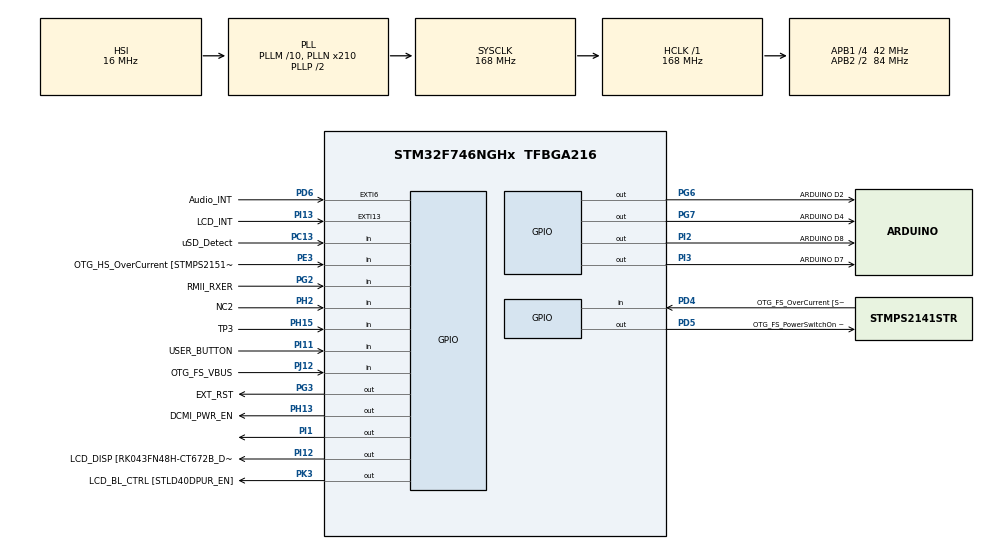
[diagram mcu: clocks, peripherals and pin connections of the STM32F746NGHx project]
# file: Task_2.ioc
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CORTEX_M7.default_mode_Activation=1
Mcu.Family=STM32F7
Mcu.Name=STM32F746NGHx
Mcu.Package=TFBGA216
NVIC.PriorityGroup=NVIC_PRIORITYGROUP_4
NVIC.TIM6_DAC_IRQn=true\:0\:0\:false\:false\:true\:true\:true\:true
PA0/WKUP.GPIO_Label=ARDUINO A0
PA0/WKUP.GPIO_Mode=GPIO_MODE_ANALOG
PA0/WKUP.GPIO_PuPd=GPIO_NOPULL
PA0/WKUP.Signal=ADCx_IN0
PA1.GPIO_Label=RMII_REF_CLK [LAN8742A-CZ-TR_REFCLK0]
PA1.Signal=ETH_REF_CLK
PA10.GPIO_Label=OTG_FS_ID
PA10.Signal=USB_OTG_FS_ID
PA11.GPIO_Label=OTG_FS_N
PA11.Signal=USB_OTG_FS_DM
PA12.GPIO_Label=OTG_FS_P
PA12.Signal=USB_OTG_FS_DP
PA13.GPIO_Label=SWDIO
PA13.Signal=SYS_JTMS-SWDIO
PA14.GPIO_Label=SWCLK
PA14.Signal=SYS_JTCK-SWCLK
PA15.GPIO_Label=ARDUINO PWM/D9
PA15.GPIO_ModeDefaultPP=GPIO_MODE_AF_PP
PA15.GPIO_PuPd=GPIO_NOPULL
PA15.GPIO_Speed=GPIO_SPEED_FREQ_LOW
PA15.Signal=S_TIM2_CH1_ETR
PA2.GPIO_Label=RMII_MDIO [LAN8742A-CZ-TR_MDIO]
PA2.Signal=ETH_MDIO
PA3.GPIO_Label=ULPI_D0 [USB3320C-EZK_D0]
PA3.Signal=USB_OTG_HS_ULPI_D0
PA4.GPIO_Label=DCMI_HSYNC
PA4.Signal=DCMI_HSYNC
PA5.GPIO_Label=ULPI_CLK [USB3320C-EZK_CLKOUT]
PA5.Signal=USB_OTG_HS_ULPI_CK
PA6.Signal=DCMI_PIXCLK
PA7.GPIO_Label=RMII_CRS_DV [LAN8742A-CZ-TR_CRS_DV]
PA7.Signal=ETH_CRS_DV
PA8.GPIO_Label=ARDUINO PWM/D10
PA8.GPIO_ModeDefaultPP=GPIO_MODE_AF_PP
PA8.GPIO_PuPd=GPIO_NOPULL
PA8.GPIO_Speed=GPIO_SPEED_FREQ_LOW
PA8.Signal=S_TIM1_CH1
PA9.GPIO_Label=VCP_TX [STM32F103CBT6_PA3]
PA9.GPIO_Mode=GPIO_MODE_AF_PP
PA9.GPIO_PuPd=GPIO_NOPULL
PA9.GPIO_Speed=GPIO_SPEED_FREQ_LOW
PA9.Signal=USART1_TX
PB0.GPIO_Label=ULPI_D1 [USB3320C-EZK_D1]
PB0.Signal=USB_OTG_HS_ULPI_D1
PB1.GPIO_Label=ULPI_D2 [USB3320C-EZK_D2]
PB1.Signal=USB_OTG_HS_ULPI_D2
PB10.GPIO_Label=ULPI_D3 [USB3320C-EZK_D3]
PB10.Signal=USB_OTG_HS_ULPI_D3
PB11.GPIO_Label=ULPI_D4 [USB3320C-EZK_D4]
PB11.Signal=USB_OTG_HS_ULPI_D4
PB12.GPIO_Label=ULPI_D5 [USB3320C-EZK_D5]
PB12.Signal=USB_OTG_HS_ULPI_D5
PB13.GPIO_Label=ULPI_D6 [USB3320C-EZK_D6]
PB13.Signal=USB_OTG_HS_ULPI_D6
PB14.GPIO_Label=ARDUINO MISO/D12
PB14.GPIO_Mode=GPIO_MODE_AF_PP
PB14.GPIO_PuPd=GPIO_NOPULL
PB14.GPIO_Speed=GPIO_SPEED_FREQ_LOW
PB14.Signal=SPI2_MISO
PB15.GPIO_Label=ARDUINO MOSI/PWM/D11
PB15.GPIO_Mode=GPIO_MODE_AF_PP
PB15.GPIO_PuPd=GPIO_NOPULL
PB15.GPIO_Speed=GPIO_SPEED_FREQ_LOW
PB15.Signal=SPI2_MOSI
PB2.Signal=QUADSPI_CLK
PB3.GPIO_Label=SWO
PB3.Signal=SYS_JTDO-SWO
PB4.GPIO_Label=ARDUINO PWM/D3
PB4.GPIO_ModeDefaultPP=GPIO_MODE_AF_PP
PB4.GPIO_PuPd=GPIO_NOPULL
PB4.GPIO_Speed=GPIO_SPEED_FREQ_LOW
PB4.Signal=S_TIM3_CH1
PB5.GPIO_Label=ULPI_D7 [USB3320C-EZK_D7]
PB5.Signal=USB_OTG_HS_ULPI_D7
PB6.GPIO_Label=QSPI_NCS [N25Q128A13EF840E_S]
PB6.Signal=QUADSPI_BK1_NCS
PB7.GPIO_Label=VCP_RX [STM32F103CBT6_PA2]
PB7.GPIO_Mode=GPIO_MODE_AF_PP
PB7.GPIO_PuPd=GPIO_NOPULL
PB7.GPIO_Speed=GPIO_SPEED_FREQ_LOW
PB7.Signal=USART1_RX
PB8.GPIO_Label=ARDUINO SCL/D15
PB8.GPIO_Mode=GPIO_MODE_AF_OD
PB8.GPIO_PuPd=GPIO_NOPULL
PB8.GPIO_Speed=GPIO_SPEED_FREQ_LOW
PB8.Signal=I2C1_SCL
PB9.GPIO_Label=ARDUINO SDA/D14
PB9.GPIO_Mode=GPIO_MODE_AF_OD
PB9.GPIO_PuPd=GPIO_NOPULL
PB9.GPIO_Speed=GPIO_SPEED_FREQ_LOW
PB9.Signal=I2C1_SDA
PC0.GPIO_Label=ULPI_STP [USB3320C-EZK_STP]
PC0.Signal=USB_OTG_HS_ULPI_STP
PC1.GPIO_Label=RMII_MDC [LAN8742A-CZ-TR_MDC]
PC1.Signal=ETH_MDC
PC10.GPIO_Label=SDMMC_D2
PC10.Signal=SDMMC1_D2
PC11.GPIO_Label=SDMMC_D3
PC11.Signal=SDMMC1_D3
PC12.GPIO_Label=SDMMC_CK
PC12.Signal=SDMMC1_CK
PC13.GPIO_Label=uSD_Detect
PC13.Signal=GPIO_Input
PC14/OSC32_IN.GPIO_Label=RCC_OSC32_IN
PC14/OSC32_IN.Signal=RCC_OSC32_IN
PC15/OSC32_OUT.GPIO_Label=RCC_OSC32_OUT
PC15/OSC32_OUT.Signal=RCC_OSC32_OUT
PC2.GPIO_Label=ULPI_DIR [USB3320C-EZK_DIR]
PC2.Signal=USB_OTG_HS_ULPI_DIR
PC3.GPIO_Label=FMC_SDCKE0 [MT48LC4M32B2B5-6A_CKE]
PC3.Signal=FMC_SDCKE0
PC4.GPIO_Label=RMII_RXD0 [LAN8742A-CZ-TR_RXD0]
PC4.Signal=ETH_RXD0
PC5.GPIO_Label=RMII_RXD1 [LAN8742A-CZ-TR_RXD1]
PC5.Signal=ETH_RXD1
PC6.GPIO_Label=ARDUINO TX/D1
PC6.Signal=USART6_TX
PC7.GPIO_Label=ARDUINO RX/D0
PC7.Signal=USART6_RX
PC8.Signal=SDMMC1_D0
PC9.Signal=SDMMC1_D1
PD0.GPIO_Label=FMC_D2 [MT48LC4M32B2B5-6A_DQ2]
PD0.Signal=FMC_D2_DA2
PD1.GPIO_Label=FMC_D3 [MT48LC4M32B2B5-6A_DQ3]
PD1.Signal=FMC_D3_DA3
PD10.GPIO_Label=FMC_D15 [MT48LC4M32B2B5-6A_DQ15]
PD10.Signal=FMC_D15_DA15
PD11.GPIO_Label=QSPI_D0 [N25Q128A13EF840E_DQ0]
PD11.Signal=QUADSPI_BK1_IO0
PD12.GPIO_Label=QSPI_D1 [N25Q128A13EF840E_DQ1]
PD12.Signal=QUADSPI_BK1_IO1
PD13.GPIO_Label=QSPI_D3 [N25Q128A13EF840E_DQ3]
PD13.Signal=QUADSPI_BK1_IO3
PD14.GPIO_Label=FMC_D0 [MT48LC4M32B2B5-6A_DQ0]
PD14.Signal=FMC_D0_DA0
PD15.GPIO_Label=FMC_D1 [MT48LC4M32B2B5-6A_DQ1]
PD15.Signal=FMC_D1_DA1
PD2.GPIO_Label=SDMMC_D0
PD2.Signal=SDMMC1_CMD
PD3.GPIO_Label=DCMI_D5
PD3.Signal=DCMI_D5
PD4.GPIO_Label=OTG_FS_OverCurrent [STMPS2141STR_Fault]
PD4.Signal=GPIO_Input
PD5.GPIO_Label=OTG_FS_PowerSwitchOn [STMPS2141STR_EN]
PD5.PinState=GPIO_PIN_SET
PD5.Signal=GPIO_Output
PD6.GPIO_Label=Audio_INT
PD6.GPIO_ModeDefaultEXTI=GPIO_MODE_EVT_RISING
PD6.Signal=GPXTI6
PD7.GPIO_Label=SPDIF_RX0 [74LVC1G04SE_4]
PD7.Signal=SPDIFRX_IN0
PD8.GPIO_Label=FMC_D13 [MT48LC4M32B2B5-6A_DQ13]
PD8.Signal=FMC_D13_DA13
PD9.GPIO_Label=FMC_D14 [MT48LC4M32B2B5-6A_DQ14]
PD9.Signal=FMC_D14_DA14
PE0.GPIO_Label=FMC_NBL0 [MT48LC4M32B2B5-6A_DQM0]
PE0.Signal=FMC_NBL0
PE1.GPIO_Label=FMC_NBL1 [MT48LC4M32B2B5-6A_DQM1]
PE1.Signal=FMC_NBL1
PE10.GPIO_Label=FMC_D7 [MT48LC4M32B2B5-6A_DQ7]
PE10.Signal=FMC_D7_DA7
PE11.GPIO_Label=FMC_D8 [MT48LC4M32B2B5-6A_DQ8]
PE11.Signal=FMC_D8_DA8
PE12.GPIO_Label=FMC_D9 [MT48LC4M32B2B5-6A_DQ9]
PE12.Signal=FMC_D9_DA9
PE13.GPIO_Label=FMC_D10 [MT48LC4M32B2B5-6A_DQ10]
PE13.Signal=FMC_D10_DA10
PE14.GPIO_Label=FMC_D11 [MT48LC4M32B2B5-6A_DQ11]
PE14.Signal=FMC_D11_DA11
PE15.GPIO_Label=FMC_D12 [MT48LC4M32B2B5-6A_DQ12]
PE15.Signal=FMC_D12_DA12
PE2.GPIO_Label=QSPI_D2 [N25Q128A13EF840E_DQ2]
PE2.Signal=QUADSPI_BK1_IO2
PE3.GPIO_Label=OTG_HS_OverCurrent [STMPS2151STR_FAULT]
PE3.Signal=GPIO_Input
PE4.GPIO_Label=LCD_B0 [RK043FN48H-CT672B_B0]
PE4.Signal=LTDC_B0
PE5.GPIO_Label=DCMI_D6
PE5.Signal=DCMI_D6
PE6.GPIO_Label=DCMI_D7
PE6.Signal=DCMI_D7
PE7.GPIO_Label=FMC_D4 [MT48LC4M32B2B5-6A_DQ4]
PE7.Signal=FMC_D4_DA4
PE8.GPIO_Label=FMC_D5 [MT48LC4M32B2B5-6A_DQ5]
PE8.Signal=FMC_D5_DA5
PE9.GPIO_Label=FMC_D6 [MT48LC4M32B2B5-6A_DQ6]
PE9.Signal=FMC_D6_DA6
PF0.GPIO_Label=FMC_A0 [MT48LC4M32B2B5-6A_A0]
PF0.Signal=FMC_A0
PF1.GPIO_Label=FMC_A1 [MT48LC4M32B2B5-6A_A1]
PF1.Signal=FMC_A1
PF10.GPIO_Label=ARDUINO A1
PF10.GPIO_Mode=GPIO_MODE_ANALOG
PF10.GPIO_PuPd=GPIO_NOPULL
PF10.Signal=ADC3_IN8
PF11.GPIO_Label=FMC_SDNRAS [MT48LC4M32B2B5-6A_RAS]
PF11.Signal=FMC_SDNRAS
PF12.GPIO_Label=FMC_A6 [MT48LC4M32B2B5-6A_A6]
PF12.Signal=FMC_A6
PF13.GPIO_Label=FMC_A7 [MT48LC4M32B2B5-6A_A7]
PF13.Signal=FMC_A7
PF14.GPIO_Label=FMC_A8 [MT48LC4M32B2B5-6A_A8]
PF14.Signal=FMC_A8
PF15.GPIO_Label=FMC_A9 [MT48LC4M32B2B5-6A_A9]
PF15.Signal=FMC_A9
PF2.GPIO_Label=FMC_A2 [MT48LC4M32B2B5-6A_A2]
PF2.Signal=FMC_A2
PF3.GPIO_Label=FMC_A3 [MT48LC4M32B2B5-6A_A3]
PF3.Signal=FMC_A3
PF4.GPIO_Label=FMC_A4 [MT48LC4M32B2B5-6A_A4]
PF4.Signal=FMC_A4
PF5.GPIO_Label=FMC_A5 [MT48LC4M32B2B5-6A_A5]
PF5.Signal=FMC_A5
PF6.GPIO_Label=ARDUINO A5
PF6.GPIO_Mode=GPIO_MODE_ANALOG
PF6.GPIO_PuPd=GPIO_NOPULL
PF6.Signal=ADC3_IN4
PF7.GPIO_Label=ARDUINO A4
PF7.GPIO_Mode=GPIO_MODE_ANALOG
PF7.GPIO_PuPd=GPIO_NOPULL
PF7.Signal=ADC3_IN5
PF8.GPIO_Label=ARDUINO A3
PF8.GPIO_Mode=GPIO_MODE_ANALOG
PF8.GPIO_PuPd=GPIO_NOPULL
PF8.Signal=ADC3_IN6
PF9.GPIO_Label=ARDUINO A2
PF9.GPIO_Mode=GPIO_MODE_ANALOG
PF9.GPIO_PuPd=GPIO_NOPULL
PF9.Signal=ADC3_IN7
PG0.GPIO_Label=FMC_A10 [MT48LC4M32B2B5-6A_A10]
PG0.Signal=FMC_A10
PG1.GPIO_Label=FMC_A11 [MT48LC4M32B2B5-6A_A11]
PG1.Signal=FMC_A11
PG10.GPIO_Label=SAI2_SDB [WM8994ECS/R_ADCDAT1]
PG10.Signal=SAI2_SD_B
PG11.GPIO_Label=RMII_TX_EN [LAN8742A-CZ-TR_TXEN]
PG11.Signal=ETH_TX_EN
PG12.GPIO_Label=LCD_B4 [RK043FN48H-CT672B_B4]
PG12.Signal=LTDC_B4
PG13.GPIO_Label=RMII_TXD0 [LAN8742A-CZ-TR_TXD0]
PG13.Signal=ETH_TXD0
PG14.GPIO_Label=RMII_TXD1 [LAN8742A-CZ-TR_TXD1]
PG14.Signal=ETH_TXD1
PG15.GPIO_Label=FMC_SDNCAS [MT48LC4M32B2B5-6A_CAS]
PG15.Signal=FMC_SDNCAS
PG2.GPIO_Label=RMII_RXER
PG2.Signal=GPIO_Input
PG3.GPIO_Label=EXT_RST
PG3.Signal=GPIO_Output
PG4.GPIO_Label=FMC_BA0 [MT48LC4M32B2B5-6A_BA0]
PG4.Signal=FMC_A14_BA0
PG5.GPIO_Label=FMC_BA1 [MT48LC4M32B2B5-6A_BA1]
PG5.Signal=FMC_A15_BA1
PG6.GPIO_Label=ARDUINO D2
PG6.Signal=GPIO_Output
PG7.GPIO_Label=ARDUINO D4
PG7.Signal=GPIO_Output
PG8.GPIO_Label=FMC_SDCLK [MT48LC4M32B2B5-6A_CLK]
PG8.Signal=FMC_SDCLK
PG9.GPIO_Label=DCMI_VSYNC
PG9.Signal=DCMI_VSYNC
PH0/OSC_IN.GPIO_Label=OSC_25M [NZ2520SB-25.00M_OUT]
PH0/OSC_IN.Signal=RCC_OSC_IN
PH1/OSC_OUT.Signal=RCC_OSC_OUT
PH10.GPIO_Label=DCMI_D1
PH10.Signal=DCMI_D1
PH11.GPIO_Label=DCMI_D2
PH11.Signal=DCMI_D2
PH12.GPIO_Label=DCMI_D3
PH12.Signal=DCMI_D3
PH13.GPIO_Label=DCMI_PWR_EN
PH13.Signal=GPIO_Output
PH14.GPIO_Label=DCMI_D4
PH14.Signal=DCMI_D4
PH15.GPIO_Label=TP3
PH15.Signal=GPIO_Input
PH2.GPIO_Label=NC2
PH2.Signal=GPIO_Input
PH3.GPIO_Label=FMC_SDNE0 [MT48LC4M32B2B5-6A_CS]
PH3.Signal=FMC_SDNE0
PH4.GPIO_Label=ULPI_NXT [USB3320C-EZK_NXT]
PH4.Signal=USB_OTG_HS_ULPI_NXT
PH5.GPIO_Label=FMC_SDNME [MT48LC4M32B2B5-6A_WE]
PH5.Signal=FMC_SDNWE
PH6.GPIO_Label=ARDUINO PWM/D6
PH6.Signal=S_TIM12_CH1
PH7.GPIO_Label=LCD_SCL [RK043FN48H-CT672B_SCL]
PH7.Signal=I2C3_SCL
PH8.GPIO_Label=LCD_SDA [RK043FN48H-CT672B_SDA]
PH8.Signal=I2C3_SDA
PH9.GPIO_Label=DCMI_D0
PH9.Signal=DCMI_D0
PI0.GPIO_Label=ARDUINO PWM/CS/D5
PI0.GPIO_ModeDefaultPP=GPIO_MODE_AF_PP
PI0.GPIO_PuPd=GPIO_NOPULL
PI0.GPIO_Speed=GPIO_SPEED_FREQ_LOW
PI0.Signal=S_TIM5_CH4
PI1.Signal=GPIO_Output
PI10.GPIO_Label=LCD_HSYNC [RK043FN48H-CT672B_HSYNC]
PI10.Signal=LTDC_HSYNC
PI11.GPIO_Label=USER_BUTTON
PI11.GPIO_PuPd=GPIO_PULLDOWN
PI11.Signal=GPIO_Input
PI12.GPIO_Label=LCD_DISP [RK043FN48H-CT672B_DISP] 
PI12.Signal=GPIO_Output
PI13.GPIO_Label=LCD_INT
PI13.GPIO_ModeDefaultEXTI=GPIO_MODE_EVT_RISING
PI13.Signal=GPXTI13
PI14.GPIO_Label=LCD_CLK [RK043FN48H-CT672B_CLK]
PI14.Signal=LTDC_CLK
PI15.GPIO_Label=LCD_R0 [RK043FN48H-CT672B_R0]
PI15.Signal=LTDC_R0
PI2.GPIO_Label=ARDUINO D8
PI2.Signal=GPIO_Output
PI3.GPIO_Label=ARDUINO D7
PI3.Signal=GPIO_Output
PI4.GPIO_Label=SAI2_MCLKA [WM8994ECS/R_MCLK1]
PI4.Signal=SAI2_MCLK_A
PI5.GPIO_Label=SAI2_SCKA [WM8994ECS/R_BCLK1]
PI5.Signal=SAI2_SCK_A
PI6.GPIO_Label=SAI2_SDA [WM8994ECS/R_DACDAT1]
PI6.Signal=SAI2_SD_A
PI7.GPIO_Label=SAI2_FSA [WM8994ECS/R_LRCLK1]
PI7.Signal=SAI2_FS_A
PI8.GPIO_Label=NC1 [TP2]
PI8.Signal=RTC_TS
PI9.GPIO_Label=LCD_VSYNC [RK043FN48H-CT672B_VSYNC]
PI9.Signal=LTDC_VSYNC
PJ0.GPIO_Label=LCD_R1 [RK043FN48H-CT672B_R1]
PJ0.Signal=LTDC_R1
PJ1.GPIO_Label=LCD_R2 [RK043FN48H-CT672B_R2]
PJ1.Signal=LTDC_R2
PJ10.GPIO_Label=LCD_G3 [RK043FN48H-CT672B_G3]
PJ10.Signal=LTDC_G3
PJ11.GPIO_Label=LCD_G4 [RK043FN48H-CT672B_G4]
PJ11.Signal=LTDC_G4
PJ12.GPIO_Label=OTG_FS_VBUS
PJ12.Signal=GPIO_Input
PJ13.GPIO_Label=LCD_B1 [RK043FN48H-CT672B_B1]
PJ13.Signal=LTDC_B1
PJ14.GPIO_Label=LCD_B2 [RK043FN48H-CT672B_B2]
PJ14.Signal=LTDC_B2
PJ15.GPIO_Label=LCD_B3 [RK043FN48H-CT672B_B3]
PJ15.Signal=LTDC_B3
PJ2.GPIO_Label=LCD_R3 [RK043FN48H-CT672B_R3]
PJ2.Signal=LTDC_R3
PJ3.GPIO_Label=LCD_R4 [RK043FN48H-CT672B_R4]
PJ3.Signal=LTDC_R4
PJ4.GPIO_Label=LCD_R5 [RK043FN48H-CT672B_R5]
PJ4.Signal=LTDC_R5
PJ5.GPIO_Label=LCD_R6 [RK043FN48H-CT672B_R6]
PJ5.Signal=LTDC_R6
PJ6.GPIO_Label=LCD_R7 [RK043FN48H-CT672B_R7]
PJ6.Signal=LTDC_R7
PJ7.GPIO_Label=LCD_G0 [RK043FN48H-CT672B_G0]
PJ7.Signal=LTDC_G0
PJ8.GPIO_Label=LCD_G1 [RK043FN48H-CT672B_G1]
PJ8.Signal=LTDC_G1
PJ9.GPIO_Label=LCD_G2 [RK043FN48H-CT672B_G2]
PJ9.Signal=LTDC_G2
PK0.GPIO_Label=LCD_G5 [RK043FN48H-CT672B_G5]
PK0.Signal=LTDC_G5
PK1.GPIO_Label=LCD_G6 [RK043FN48H-CT672B_G6]
PK1.Signal=LTDC_G6
PK2.GPIO_Label=LCD_G7 [RK043FN48H-CT672B_G7]
PK2.Signal=LTDC_G7
PK3.GPIO_Label=LCD_BL_CTRL [STLD40DPUR_EN]
PK3.Signal=GPIO_Output
PK4.GPIO_Label=LCD_B5 [RK043FN48H-CT672B_B5]
PK4.Signal=LTDC_B5
PK5.GPIO_Label=LCD_B6 [RK043FN48H-CT672B_B6]
PK5.Signal=LTDC_B6
PK6.GPIO_Label=LCD_B7 [RK043FN48H-CT672B_B7]
PK6.Signal=LTDC_B7
PK7.GPIO_Label=LCD_DE [RK043FN48H-CT672B_DE]
PK7.Signal=LTDC_DE
ProjectManager.HeapSize=0x200
ProjectManager.StackSize=0x400
ProjectManager.TargetToolchain=STM32CubeIDE
RCC.AHBFreq_Value=168000000
RCC.APB1CLKDivider=RCC_HCLK_DIV4
RCC.APB1Freq_Value=42000000
RCC.APB1TimFreq_Value=84000000
RCC.APB2CLKDivider=RCC_HCLK_DIV2
RCC.APB2Freq_Value=84000000
RCC.APB2TimFreq_Value=168000000
RCC.CortexFreq_Value=168000000
RCC.HCLKFreq_Value=168000000
RCC.HSE_VALUE=25000000
RCC.HSI_VALUE=16000000
RCC.LSE_VALUE=32768
RCC.PLLM=10
RCC.PLLN=210
RCC.PLLSourceVirtual=RCC_PLLSOURCE_HSI
RCC.SYSCLKFreq_VALUE=168000000
RCC.SYSCLKSource=RCC_SYSCLKSOURCE_PLLCLK
RCC.USBFreq_Value=168000000
RCC.VCOOutputFreq_Value=336000000
SH.ADCx_IN0.0=ADC3_IN0
SH.FMC_A0.0=FMC_A0
SH.FMC_A1.0=FMC_A1
SH.FMC_A10.0=FMC_A10
SH.FMC_A11.0=FMC_A11
SH.FMC_A14_BA0.0=FMC_BA0
SH.FMC_A15_BA1.0=FMC_BA1
SH.FMC_A2.0=FMC_A2
SH.FMC_A3.0=FMC_A3
SH.FMC_A4.0=FMC_A4
SH.FMC_A5.0=FMC_A5
SH.FMC_A6.0=FMC_A6
SH.FMC_A7.0=FMC_A7
SH.FMC_A8.0=FMC_A8
SH.FMC_A9.0=FMC_A9
SH.FMC_D0_DA0.0=FMC_D0
SH.FMC_D10_DA10.0=FMC_D10
SH.FMC_D11_DA11.0=FMC_D11
SH.FMC_D12_DA12.0=FMC_D12
SH.FMC_D13_DA13.0=FMC_D13
SH.FMC_D14_DA14.0=FMC_D14
SH.FMC_D15_DA15.0=FMC_D15
SH.FMC_D1_DA1.0=FMC_D1
SH.FMC_D2_DA2.0=FMC_D2
SH.FMC_D3_DA3.0=FMC_D3
SH.FMC_D4_DA4.0=FMC_D4
SH.FMC_D5_DA5.0=FMC_D5
SH.FMC_D6_DA6.0=FMC_D6
SH.FMC_D7_DA7.0=FMC_D7
SH.FMC_D8_DA8.0=FMC_D8
SH.FMC_D9_DA9.0=FMC_D9
SH.FMC_NBL0.0=FMC_NBL0
SH.FMC_NBL1.0=FMC_NBL1
SH.FMC_SDCLK.0=FMC_SDCLK
SH.FMC_SDNCAS.0=FMC_SDNCAS
SH.FMC_SDNRAS.0=FMC_SDNRAS
SH.FMC_SDNWE.0=FMC_SDNWE
SH.S_TIM12_CH1.0=TIM12_CH1
SH.S_TIM1_CH1.0=TIM1_CH1
SH.S_TIM2_CH1_ETR.0=TIM2_CH1
SH.S_TIM3_CH1.0=TIM3_CH1
SH.S_TIM5_CH4.0=TIM5_CH4
TIM6.Period=999
TIM6.Prescaler=107
VP_TIM6_VS_ClockSourceINT.Mode=Enable_Timer
board=STM32F746G-DISCO

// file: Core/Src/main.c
/* USER CODE BEGIN Header */
/**
  ******************************************************************************
  * @file           : main.c
  * @brief          : Main program body
  ******************************************************************************
  * @attention
  *
  * Copyright (c) 2026 STMicroelectronics.
  * All rights reserved.
  *
  * This software is licensed under terms that can be found in the LICENSE file
  * in the root directory of this software component.
  * If no LICENSE file comes with this software, it is provided AS-IS.
  *
  ******************************************************************************
  */
/* USER CODE END Header */
#include "main.h"

TIM_HandleTypeDef htim6;

/* USER CODE BEGIN PV */
uint32_t freq = 1;
uint8_t is_custom_duty = 0;
uint32_t timer_tick = 0;

uint32_t btn_time = 0;
uint8_t btn_pressed = 0;
uint8_t long_handled = 0;
/* USER CODE END PV */

void SystemClock_Config(void);
static void MPU_Config(void);
static void MX_GPIO_Init(void);
static void MX_TIM6_Init(void);

int main(void)
{

  /* MPU Configuration--------------------------------------------------------*/
  MPU_Config();

  /* MCU Configuration--------------------------------------------------------*/

  /* Reset of all peripherals, Initializes the Flash interface and the Systick. */
  HAL_Init();

  /* Configure the system clock */
  SystemClock_Config();

  /* Initialize all configured peripherals */
  MX_GPIO_Init();
  MX_TIM6_Init();
  /* USER CODE BEGIN 2 */
  HAL_TIM_Base_Start_IT(&htim6);
  /* USER CODE END 2 */

  /* Infinite loop */
  while (1)
  {

  }
}

void SystemClock_Config(void)
{
  RCC_OscInitTypeDef RCC_OscInitStruct = {0};
  RCC_ClkInitTypeDef RCC_ClkInitStruct = {0};

  /** Configure the main internal regulator output voltage
  */
  __HAL_RCC_PWR_CLK_ENABLE();
  __HAL_PWR_VOLTAGESCALING_CONFIG(PWR_REGULATOR_VOLTAGE_SCALE2);

  /** Initializes the RCC Oscillators according to the specified parameters
  * in the RCC_OscInitTypeDef structure.
  */
  RCC_OscInitStruct.OscillatorType = RCC_OSCILLATORTYPE_HSI;
  RCC_OscInitStruct.HSIState = RCC_HSI_ON;
  RCC_OscInitStruct.HSICalibrationValue = RCC_HSICALIBRATION_DEFAULT;
  RCC_OscInitStruct.PLL.PLLState = RCC_PLL_ON;
  RCC_OscInitStruct.PLL.PLLSource = RCC_PLLSOURCE_HSI;
  RCC_OscInitStruct.PLL.PLLM = 10;
  RCC_OscInitStruct.PLL.PLLN = 210;
  RCC_OscInitStruct.PLL.PLLP = RCC_PLLP_DIV2;
  RCC_OscInitStruct.PLL.PLLQ = 2;
  if (HAL_RCC_OscConfig(&RCC_OscInitStruct) != HAL_OK)
  {
    Error_Handler();
  }

  /** Initializes the CPU, AHB and APB buses clocks
  */
  RCC_ClkInitStruct.ClockType = RCC_CLOCKTYPE_HCLK|RCC_CLOCKTYPE_SYSCLK
                              |RCC_CLOCKTYPE_PCLK1|RCC_CLOCKTYPE_PCLK2;
  RCC_ClkInitStruct.SYSCLKSource = RCC_SYSCLKSOURCE_PLLCLK;
  RCC_ClkInitStruct.AHBCLKDivider = RCC_SYSCLK_DIV1;
  RCC_ClkInitStruct.APB1CLKDivider = RCC_HCLK_DIV4;
  RCC_ClkInitStruct.APB2CLKDivider = RCC_HCLK_DIV2;

  if (HAL_RCC_ClockConfig(&RCC_ClkInitStruct, FLASH_LATENCY_5) != HAL_OK)
  {
    Error_Handler();
  }
}

static void MX_TIM6_Init(void)
{

  TIM_MasterConfigTypeDef sMasterConfig = {0};

  htim6.Instance = TIM6;
  htim6.Init.Prescaler = 107;
  htim6.Init.CounterMode = TIM_COUNTERMODE_UP;
  htim6.Init.Period = 999;
  htim6.Init.AutoReloadPreload = TIM_AUTORELOAD_PRELOAD_DISABLE;
  if (HAL_TIM_Base_Init(&htim6) != HAL_OK)
  {
    Error_Handler();
  }
  sMasterConfig.MasterOutputTrigger = TIM_TRGO_RESET;
  sMasterConfig.MasterSlaveMode = TIM_MASTERSLAVEMODE_DISABLE;
  if (HAL_TIMEx_MasterConfigSynchronization(&htim6, &sMasterConfig) != HAL_OK)
  {
    Error_Handler();
  }

}

static void MX_GPIO_Init(void)
{
  GPIO_InitTypeDef GPIO_InitStruct = {0};

  /* GPIO Ports Clock Enable */
  __HAL_RCC_GPIOE_CLK_ENABLE();
  __HAL_RCC_GPIOG_CLK_ENABLE();
  __HAL_RCC_GPIOB_CLK_ENABLE();
  __HAL_RCC_GPIOD_CLK_ENABLE();
  __HAL_RCC_GPIOC_CLK_ENABLE();
  __HAL_RCC_GPIOA_CLK_ENABLE();
  __HAL_RCC_GPIOJ_CLK_ENABLE();
  __HAL_RCC_GPIOI_CLK_ENABLE();
  __HAL_RCC_GPIOK_CLK_ENABLE();
  __HAL_RCC_GPIOF_CLK_ENABLE();
  __HAL_RCC_GPIOH_CLK_ENABLE();

  /*Configure GPIO pin Output Level */
  HAL_GPIO_WritePin(OTG_FS_PowerSwitchOn_GPIO_Port, OTG_FS_PowerSwitchOn_Pin, GPIO_PIN_SET);

  /*Configure GPIO pin Output Level */
  HAL_GPIO_WritePin(GPIOI, ARDUINO_D7_Pin|ARDUINO_D8_Pin|GPIO_PIN_1|LCD_DISP_Pin, GPIO_PIN_RESET);

  /*Configure GPIO pin Output Level */
  HAL_GPIO_WritePin(LCD_BL_CTRL_GPIO_Port, LCD_BL_CTRL_Pin, GPIO_PIN_RESET);

  /*Configure GPIO pin Output Level */
  HAL_GPIO_WritePin(DCMI_PWR_EN_GPIO_Port, DCMI_PWR_EN_Pin, GPIO_PIN_RESET);

  /*Configure GPIO pin Output Level */
  HAL_GPIO_WritePin(GPIOG, ARDUINO_D4_Pin|ARDUINO_D2_Pin|EXT_RST_Pin, GPIO_PIN_RESET);

  /*Configure GPIO pin : LCD_B0_Pin */
  GPIO_InitStruct.Pin = LCD_B0_Pin;
  GPIO_InitStruct.Mode = GPIO_MODE_AF_PP;
  GPIO_InitStruct.Pull = GPIO_NOPULL;
  GPIO_InitStruct.Speed = GPIO_SPEED_FREQ_LOW;
  GPIO_InitStruct.Alternate = GPIO_AF14_LTDC;
  HAL_GPIO_Init(LCD_B0_GPIO_Port, &GPIO_InitStruct);

  /*Configure GPIO pin : OTG_HS_OverCurrent_Pin */
  GPIO_InitStruct.Pin = OTG_HS_OverCurrent_Pin;
  GPIO_InitStruct.Mode = GPIO_MODE_INPUT;
  GPIO_InitStruct.Pull = GPIO_NOPULL;
  HAL_GPIO_Init(OTG_HS_OverCurrent_GPIO_Port, &GPIO_InitStruct);

  /*Configure GPIO pin : QSPI_D2_Pin */
  GPIO_InitStruct.Pin = QSPI_D2_Pin;
  GPIO_InitStruct.Mode = GPIO_MODE_AF_PP;
  GPIO_InitStruct.Pull = GPIO_NOPULL;
  GPIO_InitStruct.Speed = GPIO_SPEED_FREQ_VERY_HIGH;
  GPIO_InitStruct.Alternate = GPIO_AF9_QUADSPI;
  HAL_GPIO_Init(QSPI_D2_GPIO_Port, &GPIO_InitStruct);

  /*Configure GPIO pins : RMII_TXD1_Pin RMII_TXD0_Pin RMII_TX_EN_Pin */
  GPIO_InitStruct.Pin = RMII_TXD1_Pin|RMII_TXD0_Pin|RMII_TX_EN_Pin;
  GPIO_InitStruct.Mode = GPIO_MODE_AF_PP;
  GPIO_InitStruct.Pull = GPIO_NOPULL;
  GPIO_InitStruct.Speed = GPIO_SPEED_FREQ_HIGH;
  GPIO_InitStruct.Alternate = GPIO_AF11_ETH;
  HAL_GPIO_Init(GPIOG, &GPIO_InitStruct);

  /*Configure GPIO pins : FMC_NBL1_Pin FMC_NBL0_Pin FMC_D5_Pin FMC_D6_Pin
                           FMC_D8_Pin FMC_D11_Pin FMC_D4_Pin FMC_D7_Pin
                           FMC_D9_Pin FMC_D12_Pin FMC_D10_Pin */
  GPIO_InitStruct.Pin = FMC_NBL1_Pin|FMC_NBL0_Pin|FMC_D5_Pin|FMC_D6_Pin
                          |FMC_D8_Pin|FMC_D11_Pin|FMC_D4_Pin|FMC_D7_Pin
                          |FMC_D9_Pin|FMC_D12_Pin|FMC_D10_Pin;
  GPIO_InitStruct.Mode = GPIO_MODE_AF_PP;
  GPIO_InitStruct.Pull = GPIO_NOPULL;
  GPIO_InitStruct.Speed = GPIO_SPEED_FREQ_VERY_HIGH;
  GPIO_InitStruct.Alternate = GPIO_AF12_FMC;
  HAL_GPIO_Init(GPIOE, &GPIO_InitStruct);

  /*Configure GPIO pins : ARDUINO_SCL_D15_Pin ARDUINO_SDA_D14_Pin */
  GPIO_InitStruct.Pin = ARDUINO_SCL_D15_Pin|ARDUINO_SDA_D14_Pin;
  GPIO_InitStruct.Mode = GPIO_MODE_AF_OD;
  GPIO_InitStruct.Pull = GPIO_NOPULL;
  GPIO_InitStruct.Speed = GPIO_SPEED_FREQ_LOW;
  GPIO_InitStruct.Alternate = GPIO_AF4_I2C1;
  HAL_GPIO_Init(GPIOB, &GPIO_InitStruct);

  /*Configure GPIO pins : ULPI_D7_Pin ULPI_D6_Pin ULPI_D5_Pin ULPI_D3_Pin
                           ULPI_D2_Pin ULPI_D1_Pin ULPI_D4_Pin */
  GPIO_InitStruct.Pin = ULPI_D7_Pin|ULPI_D6_Pin|ULPI_D5_Pin|ULPI_D3_Pin
                          |ULPI_D2_Pin|ULPI_D1_Pin|ULPI_D4_Pin;
  GPIO_InitStruct.Mode = GPIO_MODE_AF_PP;
  GPIO_InitStruct.Pull = GPIO_NOPULL;
  GPIO_InitStruct.Speed = GPIO_SPEED_FREQ_VERY_HIGH;
  GPIO_InitStruct.Alternate = GPIO_AF10_OTG_HS;
  HAL_GPIO_Init(GPIOB, &GPIO_InitStruct);

  /*Configure GPIO pin : ARDUINO_PWM_D3_Pin */
  GPIO_InitStruct.Pin = ARDUINO_PWM_D3_Pin;
  GPIO_InitStruct.Mode = GPIO_MODE_AF_PP;
  GPIO_InitStruct.Pull = GPIO_NOPULL;
  GPIO_InitStruct.Speed = GPIO_SPEED_FREQ_LOW;
  GPIO_InitStruct.Alternate = GPIO_AF2_TIM3;
  HAL_GPIO_Init(ARDUINO_PWM_D3_GPIO_Port, &GPIO_InitStruct);

  /*Configure GPIO pin : SPDIF_RX0_Pin */
  GPIO_InitStruct.Pin = SPDIF_RX0_Pin;
  GPIO_InitStruct.Mode = GPIO_MODE_AF_PP;
  GPIO_InitStruct.Pull = GPIO_NOPULL;
  GPIO_InitStruct.Speed = GPIO_SPEED_FREQ_LOW;
  GPIO_InitStruct.Alternate = GPIO_AF8_SPDIFRX;
  HAL_GPIO_Init(SPDIF_RX0_GPIO_Port, &GPIO_InitStruct);

  /*Configure GPIO pins : SDMMC_CK_Pin SDMMC_D3_Pin SDMMC_D2_Pin PC9
                           PC8 */
  GPIO_InitStruct.Pin = SDMMC_CK_Pin|SDMMC_D3_Pin|SDMMC_D2_Pin|GPIO_PIN_9
                          |GPIO_PIN_8;
  GPIO_InitStruct.Mode = GPIO_MODE_AF_PP;
  GPIO_InitStruct.Pull = GPIO_NOPULL;
  GPIO_InitStruct.Speed = GPIO_SPEED_FREQ_VERY_HIGH;
  GPIO_InitStruct.Alternate = GPIO_AF12_SDMMC1;
  HAL_GPIO_Init(GPIOC, &GPIO_InitStruct);

  /*Configure GPIO pin : ARDUINO_PWM_D9_Pin */
  GPIO_InitStruct.Pin = ARDUINO_PWM_D9_Pin;
  GPIO_InitStruct.Mode = GPIO_MODE_AF_PP;
  GPIO_InitStruct.Pull = GPIO_NOPULL;
  GPIO_InitStruct.Speed = GPIO_SPEED_FREQ_LOW;
  GPIO_InitStruct.Alternate = GPIO_AF1_TIM2;
  HAL_GPIO_Init(ARDUINO_PWM_D9_GPIO_Port, &GPIO_InitStruct);

  /*Configure GPIO pins : DCMI_D6_Pin DCMI_D7_Pin */
  GPIO_InitStruct.Pin = DCMI_D6_Pin|DCMI_D7_Pin;
  GPIO_InitStruct.Mode = GPIO_MODE_AF_PP;
  GPIO_InitStruct.Pull = GPIO_NOPULL;
  GPIO_InitStruct.Speed = GPIO_SPEED_FREQ_LOW;
  GPIO_InitStruct.Alternate = GPIO_AF13_DCMI;
  HAL_GPIO_Init(GPIOE, &GPIO_InitStruct);

  /*Configure GPIO pin : VCP_RX_Pin */
  GPIO_InitStruct.Pin = VCP_RX_Pin;
  GPIO_InitStruct.Mode = GPIO_MODE_AF_PP;
  GPIO_InitStruct.Pull = GPIO_NOPULL;
  GPIO_InitStruct.Speed = GPIO_SPEED_FREQ_LOW;
  GPIO_InitStruct.Alternate = GPIO_AF7_USART1;
  HAL_GPIO_Init(VCP_RX_GPIO_Port, &GPIO_InitStruct);

  /*Configure GPIO pin : QSPI_NCS_Pin */
  GPIO_InitStruct.Pin = QSPI_NCS_Pin;
  GPIO_InitStruct.Mode = GPIO_MODE_AF_PP;
  GPIO_InitStruct.Pull = GPIO_NOPULL;
  GPIO_InitStruct.Speed = GPIO_SPEED_FREQ_VERY_HIGH;
  GPIO_InitStruct.Alternate = GPIO_AF10_QUADSPI;
  HAL_GPIO_Init(QSPI_NCS_GPIO_Port, &GPIO_InitStruct);

  /*Configure GPIO pins : FMC_SDNCAS_Pin FMC_SDCLK_Pin FMC_A11_Pin FMC_A10_Pin
                           FMC_BA1_Pin FMC_BA0_Pin */
  GPIO_InitStruct.Pin = FMC_SDNCAS_Pin|FMC_SDCLK_Pin|FMC_A11_Pin|FMC_A10_Pin
                          |FMC_BA1_Pin|FMC_BA0_Pin;
  GPIO_InitStruct.Mode = GPIO_MODE_AF_PP;
  GPIO_InitStruct.Pull = GPIO_NOPULL;
  GPIO_InitStruct.Speed = GPIO_SPEED_FREQ_VERY_HIGH;
  GPIO_InitStruct.Alternate = GPIO_AF12_FMC;
  HAL_GPIO_Init(GPIOG, &GPIO_InitStruct);

  /*Configure GPIO pins : LCD_B1_Pin LCD_B2_Pin LCD_B3_Pin LCD_G4_Pin
                           LCD_G1_Pin LCD_G3_Pin LCD_G0_Pin LCD_G2_Pin
                           LCD_R7_Pin LCD_R5_Pin LCD_R6_Pin LCD_R4_Pin
                           LCD_R3_Pin LCD_R1_Pin LCD_R2_Pin */
  GPIO_InitStruct.Pin = LCD_B1_Pin|LCD_B2_Pin|LCD_B3_Pin|LCD_G4_Pin
                          |LCD_G1_Pin|LCD_G3_Pin|LCD_G0_Pin|LCD_G2_Pin
                          |LCD_R7_Pin|LCD_R5_Pin|LCD_R6_Pin|LCD_R4_Pin
                          |LCD_R3_Pin|LCD_R1_Pin|LCD_R2_Pin;
  GPIO_InitStruct.Mode = GPIO_MODE_AF_PP;
  GPIO_InitStruct.Pull = GPIO_NOPULL;
  GPIO_InitStruct.Speed = GPIO_SPEED_FREQ_LOW;
  GPIO_InitStruct.Alternate = GPIO_AF14_LTDC;
  HAL_GPIO_Init(GPIOJ, &GPIO_InitStruct);

  /*Configure GPIO pin : OTG_FS_VBUS_Pin */
  GPIO_InitStruct.Pin = OTG_FS_VBUS_Pin;
  GPIO_InitStruct.Mode = GPIO_MODE_INPUT;
  GPIO_InitStruct.Pull = GPIO_NOPULL;
  HAL_GPIO_Init(OTG_FS_VBUS_GPIO_Port, &GPIO_InitStruct);

  /*Configure GPIO pin : Audio_INT_Pin */
  GPIO_InitStruct.Pin = Audio_INT_Pin;
  GPIO_InitStruct.Mode = GPIO_MODE_EVT_RISING;
  GPIO_InitStruct.Pull = GPIO_NOPULL;
  HAL_GPIO_Init(Audio_INT_GPIO_Port, &GPIO_InitStruct);

  /*Configure GPIO pins : FMC_D2_Pin FMC_D3_Pin FMC_D1_Pin FMC_D15_Pin
                           FMC_D0_Pin FMC_D14_Pin FMC_D13_Pin */
  GPIO_InitStruct.Pin = FMC_D2_Pin|FMC_D3_Pin|FMC_D1_Pin|FMC_D15_Pin
                          |FMC_D0_Pin|FMC_D14_Pin|FMC_D13_Pin;
  GPIO_InitStruct.Mode = GPIO_MODE_AF_PP;
  GPIO_InitStruct.Pull = GPIO_NOPULL;
  GPIO_InitStruct.Speed = GPIO_SPEED_FREQ_VERY_HIGH;
  GPIO_InitStruct.Alternate = GPIO_AF12_FMC;
  HAL_GPIO_Init(GPIOD, &GPIO_InitStruct);

  /*Configure GPIO pins : OTG_FS_P_Pin OTG_FS_N_Pin OTG_FS_ID_Pin */
  GPIO_InitStruct.Pin = OTG_FS_P_Pin|OTG_FS_N_Pin|OTG_FS_ID_Pin;
  GPIO_InitStruct.Mode = GPIO_MODE_AF_PP;
  GPIO_InitStruct.Pull = GPIO_NOPULL;
  GPIO_InitStruct.Speed = GPIO_SPEED_FREQ_VERY_HIGH;
  GPIO_InitStruct.Alternate = GPIO_AF10_OTG_FS;
  HAL_GPIO_Init(GPIOA, &GPIO_InitStruct);

  /*Configure GPIO pins : SAI2_MCLKA_Pin SAI2_SCKA_Pin SAI2_FSA_Pin SAI2_SDA_Pin */
  GPIO_InitStruct.Pin = SAI2_MCLKA_Pin|SAI2_SCKA_Pin|SAI2_FSA_Pin|SAI2_SDA_Pin;
  GPIO_InitStruct.Mode = GPIO_MODE_AF_PP;
  GPIO_InitStruct.Pull = GPIO_NOPULL;
  GPIO_InitStruct.Speed = GPIO_SPEED_FREQ_LOW;
  GPIO_InitStruct.Alternate = GPIO_AF10_SAI2;
  HAL_GPIO_Init(GPIOI, &GPIO_InitStruct);

  /*Configure GPIO pins : LCD_DE_Pin LCD_B7_Pin LCD_B6_Pin LCD_B5_Pin
                           LCD_G6_Pin LCD_G7_Pin LCD_G5_Pin */
  GPIO_InitStruct.Pin = LCD_DE_Pin|LCD_B7_Pin|LCD_B6_Pin|LCD_B5_Pin
                          |LCD_G6_Pin|LCD_G7_Pin|LCD_G5_Pin;
  GPIO_InitStruct.Mode = GPIO_MODE_AF_PP;
  GPIO_InitStruct.Pull = GPIO_NOPULL;
  GPIO_InitStruct.Speed = GPIO_SPEED_FREQ_LOW;
  GPIO_InitStruct.Alternate = GPIO_AF14_LTDC;
  HAL_GPIO_Init(GPIOK, &GPIO_InitStruct);

  /*Configure GPIO pin : LCD_B4_Pin */
  GPIO_InitStruct.Pin = LCD_B4_Pin;
  GPIO_InitStruct.Mode = GPIO_MODE_AF_PP;
  GPIO_InitStruct.Pull = GPIO_NOPULL;
  GPIO_InitStruct.Speed = GPIO_SPEED_FREQ_LOW;
  GPIO_InitStruct.Alternate = GPIO_AF9_LTDC;
  HAL_GPIO_Init(LCD_B4_GPIO_Port, &GPIO_InitStruct);

  /*Configure GPIO pin : SAI2_SDB_Pin */
  GPIO_InitStruct.Pin = SAI2_SDB_Pin;
  GPIO_InitStruct.Mode = GPIO_MODE_AF_PP;
  GPIO_InitStruct.Pull = GPIO_NOPULL;
  GPIO_InitStruct.Speed = GPIO_SPEED_FREQ_LOW;
  GPIO_InitStruct.Alternate = GPIO_AF10_SAI2;
  HAL_GPIO_Init(SAI2_SDB_GPIO_Port, &GPIO_InitStruct);

  /*Configure GPIO pin : OTG_FS_PowerSwitchOn_Pin */
  GPIO_InitStruct.Pin = OTG_FS_PowerSwitchOn_Pin;
  GPIO_InitStruct.Mode = GPIO_MODE_OUTPUT_PP;
  GPIO_InitStruct.Pull = GPIO_NOPULL;
  GPIO_InitStruct.Speed = GPIO_SPEED_FREQ_LOW;
  HAL_GPIO_Init(OTG_FS_PowerSwitchOn_GPIO_Port, &GPIO_InitStruct);

  /*Configure GPIO pin : DCMI_D5_Pin */
  GPIO_InitStruct.Pin = DCMI_D5_Pin;
  GPIO_InitStruct.Mode = GPIO_MODE_AF_PP;
  GPIO_InitStruct.Pull = GPIO_NOPULL;
  GPIO_InitStruct.Speed = GPIO_SPEED_FREQ_LOW;
  GPIO_InitStruct.Alternate = GPIO_AF13_DCMI;
  HAL_GPIO_Init(DCMI_D5_GPIO_Port, &GPIO_InitStruct);

  /*Configure GPIO pins : ARDUINO_D7_Pin ARDUINO_D8_Pin PI1 LCD_DISP_Pin */
  GPIO_InitStruct.Pin = ARDUINO_D7_Pin|ARDUINO_D8_Pin|GPIO_PIN_1|LCD_DISP_Pin;
  GPIO_InitStruct.Mode = GPIO_MODE_OUTPUT_PP;
  GPIO_InitStruct.Pull = GPIO_NOPULL;
  GPIO_InitStruct.Speed = GPIO_SPEED_FREQ_LOW;
  HAL_GPIO_Init(GPIOI, &GPIO_InitStruct);

  /*Configure GPIO pin : uSD_Detect_Pin */
  GPIO_InitStruct.Pin = uSD_Detect_Pin;
  GPIO_InitStruct.Mode = GPIO_MODE_INPUT;
  GPIO_InitStruct.Pull = GPIO_NOPULL;
  HAL_GPIO_Init(uSD_Detect_GPIO_Port, &GPIO_InitStruct);

  /*Configure GPIO pins : FMC_A0_Pin FMC_A1_Pin FMC_A2_Pin FMC_A3_Pin
                           FMC_A4_Pin FMC_A5_Pin FMC_A6_Pin FMC_A9_Pin
                           FMC_A7_Pin FMC_A8_Pin FMC_SDNRAS_Pin */
  GPIO_InitStruct.Pin = FMC_A0_Pin|FMC_A1_Pin|FMC_A2_Pin|FMC_A3_Pin
                          |FMC_A4_Pin|FMC_A5_Pin|FMC_A6_Pin|FMC_A9_Pin
                          |FMC_A7_Pin|FMC_A8_Pin|FMC_SDNRAS_Pin;
  GPIO_InitStruct.Mode = GPIO_MODE_AF_PP;
  GPIO_InitStruct.Pull = GPIO_NOPULL;
  GPIO_InitStruct.Speed = GPIO_SPEED_FREQ_VERY_HIGH;
  GPIO_InitStruct.Alternate = GPIO_AF12_FMC;
  HAL_GPIO_Init(GPIOF, &GPIO_InitStruct);

  /*Configure GPIO pins : LCD_HSYNC_Pin LCD_VSYNC_Pin LCD_R0_Pin LCD_CLK_Pin */
  GPIO_InitStruct.Pin = LCD_HSYNC_Pin|LCD_VSYNC_Pin|LCD_R0_Pin|LCD_CLK_Pin;
  GPIO_InitStruct.Mode = GPIO_MODE_AF_PP;
  GPIO_InitStruct.Pull = GPIO_NOPULL;
  GPIO_InitStruct.Speed = GPIO_SPEED_FREQ_LOW;
  GPIO_InitStruct.Alternate = GPIO_AF14_LTDC;
  HAL_GPIO_Init(GPIOI, &GPIO_InitStruct);

  /*Configure GPIO pin : LCD_BL_CTRL_Pin */
  GPIO_InitStruct.Pin = LCD_BL_CTRL_Pin;
  GPIO_InitStruct.Mode = GPIO_MODE_OUTPUT_PP;
  GPIO_InitStruct.Pull = GPIO_NOPULL;
  GPIO_InitStruct.Speed = GPIO_SPEED_FREQ_LOW;
  HAL_GPIO_Init(LCD_BL_CTRL_GPIO_Port, &GPIO_InitStruct);

  /*Configure GPIO pin : DCMI_VSYNC_Pin */
  GPIO_InitStruct.Pin = DCMI_VSYNC_Pin;
  GPIO_InitStruct.Mode = GPIO_MODE_AF_PP;
  GPIO_InitStruct.Pull = GPIO_NOPULL;
  GPIO_InitStruct.Speed = GPIO_SPEED_FREQ_LOW;
  GPIO_InitStruct.Alternate = GPIO_AF13_DCMI;
  HAL_GPIO_Init(DCMI_VSYNC_GPIO_Port, &GPIO_InitStruct);

  /*Configure GPIO pin : OTG_FS_OverCurrent_Pin */
  GPIO_InitStruct.Pin = OTG_FS_OverCurrent_Pin;
  GPIO_InitStruct.Mode = GPIO_MODE_INPUT;
  GPIO_InitStruct.Pull = GPIO_NOPULL;
  HAL_GPIO_Init(OTG_FS_OverCurrent_GPIO_Port, &GPIO_InitStruct);

  /*Configure GPIO pin : SDMMC_D0_Pin */
  GPIO_InitStruct.Pin = SDMMC_D0_Pin;
  GPIO_InitStruct.Mode = GPIO_MODE_AF_PP;
  GPIO_InitStruct.Pull = GPIO_NOPULL;
  GPIO_InitStruct.Speed = GPIO_SPEED_FREQ_VERY_HIGH;
  GPIO_InitStruct.Alternate = GPIO_AF12_SDMMC1;
  HAL_GPIO_Init(SDMMC_D0_GPIO_Port, &GPIO_InitStruct);

  /*Configure GPIO pins : TP3_Pin NC2_Pin */
  GPIO_InitStruct.Pin = TP3_Pin|NC2_Pin;
  GPIO_InitStruct.Mode = GPIO_MODE_INPUT;
  GPIO_InitStruct.Pull = GPIO_NOPULL;
  HAL_GPIO_Init(GPIOH, &GPIO_InitStruct);

  /*Configure GPIO pin : DCMI_PWR_EN_Pin */
  GPIO_InitStruct.Pin = DCMI_PWR_EN_Pin;
  GPIO_InitStruct.Mode = GPIO_MODE_OUTPUT_PP;
  GPIO_InitStruct.Pull = GPIO_NOPULL;
  GPIO_InitStruct.Speed = GPIO_SPEED_FREQ_LOW;
  HAL_GPIO_Init(DCMI_PWR_EN_GPIO_Port, &GPIO_InitStruct);

  /*Configure GPIO pins : DCMI_D4_Pin DCMI_D3_Pin DCMI_D0_Pin DCMI_D2_Pin
                           DCMI_D1_Pin */
  GPIO_InitStruct.Pin = DCMI_D4_Pin|DCMI_D3_Pin|DCMI_D0_Pin|DCMI_D2_Pin
                          |DCMI_D1_Pin;
  GPIO_InitStruct.Mode = GPIO_MODE_AF_PP;
  GPIO_InitStruct.Pull = GPIO_NOPULL;
  GPIO_InitStruct.Speed = GPIO_SPEED_FREQ_LOW;
  GPIO_InitStruct.Alternate = GPIO_AF13_DCMI;
  HAL_GPIO_Init(GPIOH, &GPIO_InitStruct);

  /*Configure GPIO pin : ARDUINO_PWM_CS_D5_Pin */
  GPIO_InitStruct.Pin = ARDUINO_PWM_CS_D5_Pin;
  GPIO_InitStruct.Mode = GPIO_MODE_AF_PP;
  GPIO_InitStruct.Pull = GPIO_NOPULL;
  GPIO_InitStruct.Speed = GPIO_SPEED_FREQ_LOW;
  GPIO_InitStruct.Alternate = GPIO_AF2_TIM5;
  HAL_GPIO_Init(ARDUINO_PWM_CS_D5_GPIO_Port, &GPIO_InitStruct);

  /*Configure GPIO pin : VCP_TX_Pin */
  GPIO_InitStruct.Pin = VCP_TX_Pin;
  GPIO_InitStruct.Mode = GPIO_MODE_AF_PP;
  GPIO_InitStruct.Pull = GPIO_NOPULL;
  GPIO_InitStruct.Speed = GPIO_SPEED_FREQ_LOW;
  GPIO_InitStruct.Alternate = GPIO_AF7_USART1;
  HAL_GPIO_Init(VCP_TX_GPIO_Port, &GPIO_InitStruct);

  /*Configure GPIO pin : USER_BUTTON_Pin */
  GPIO_InitStruct.Pin = USER_BUTTON_Pin;
  GPIO_InitStruct.Mode = GPIO_MODE_INPUT;
  GPIO_InitStruct.Pull = GPIO_PULLDOWN;
  HAL_GPIO_Init(USER_BUTTON_GPIO_Port, &GPIO_InitStruct);

  /*Configure GPIO pin : ARDUINO_PWM_D10_Pin */
  GPIO_InitStruct.Pin = ARDUINO_PWM_D10_Pin;
  GPIO_InitStruct.Mode = GPIO_MODE_AF_PP;
  GPIO_InitStruct.Pull = GPIO_NOPULL;
  GPIO_InitStruct.Speed = GPIO_SPEED_FREQ_LOW;
  GPIO_InitStruct.Alternate = GPIO_AF1_TIM1;
  HAL_GPIO_Init(ARDUINO_PWM_D10_GPIO_Port, &GPIO_InitStruct);

  /*Configure GPIO pin : LCD_INT_Pin */
  GPIO_InitStruct.Pin = LCD_INT_Pin;
  GPIO_InitStruct.Mode = GPIO_MODE_EVT_RISING;
  GPIO_InitStruct.Pull = GPIO_NOPULL;
  HAL_GPIO_Init(LCD_INT_GPIO_Port, &GPIO_InitStruct);

  /*Configure GPIO pins : ARDUINO_RX_D0_Pin ARDUINO_TX_D1_Pin */
  GPIO_InitStruct.Pin = ARDUINO_RX_D0_Pin|ARDUINO_TX_D1_Pin;
  GPIO_InitStruct.Mode = GPIO_MODE_AF_PP;
  GPIO_InitStruct.Pull = GPIO_NOPULL;
  GPIO_InitStruct.Speed = GPIO_SPEED_FREQ_VERY_HIGH;
  GPIO_InitStruct.Alternate = GPIO_AF8_USART6;
  HAL_GPIO_Init(GPIOC, &GPIO_InitStruct);

  /*Configure GPIO pin : ULPI_NXT_Pin */
  GPIO_InitStruct.Pin = ULPI_NXT_Pin;
  GPIO_InitStruct.Mode = GPIO_MODE_AF_PP;
  GPIO_InitStruct.Pull = GPIO_NOPULL;
  GPIO_InitStruct.Speed = GPIO_SPEED_FREQ_VERY_HIGH;
  GPIO_InitStruct.Alternate = GPIO_AF10_OTG_HS;
  HAL_GPIO_Init(ULPI_NXT_GPIO_Port, &GPIO_InitStruct);

  /*Configure GPIO pins : FMC_SDNME_Pin FMC_SDNE0_Pin */
  GPIO_InitStruct.Pin = FMC_SDNME_Pin|FMC_SDNE0_Pin;
  GPIO_InitStruct.Mode = GPIO_MODE_AF_PP;
  GPIO_InitStruct.Pull = GPIO_NOPULL;
  GPIO_InitStruct.Speed = GPIO_SPEED_FREQ_VERY_HIGH;
  GPIO_InitStruct.Alternate = GPIO_AF12_FMC;
  HAL_GPIO_Init(GPIOH, &GPIO_InitStruct);

  /*Configure GPIO pins : ARDUINO_D4_Pin ARDUINO_D2_Pin EXT_RST_Pin */
  GPIO_InitStruct.Pin = ARDUINO_D4_Pin|ARDUINO_D2_Pin|EXT_RST_Pin;
  GPIO_InitStruct.Mode = GPIO_MODE_OUTPUT_PP;
  GPIO_InitStruct.Pull = GPIO_NOPULL;
  GPIO_InitStruct.Speed = GPIO_SPEED_FREQ_LOW;
  HAL_GPIO_Init(GPIOG, &GPIO_InitStruct);

  /*Configure GPIO pins : ARDUINO_A4_Pin ARDUINO_A5_Pin ARDUINO_A1_Pin ARDUINO_A2_Pin
                           ARDUINO_A3_Pin */
  GPIO_InitStruct.Pin = ARDUINO_A4_Pin|ARDUINO_A5_Pin|ARDUINO_A1_Pin|ARDUINO_A2_Pin
                          |ARDUINO_A3_Pin;
  GPIO_InitStruct.Mode = GPIO_MODE_ANALOG;
  GPIO_InitStruct.Pull = GPIO_NOPULL;
  HAL_GPIO_Init(GPIOF, &GPIO_InitStruct);

  /*Configure GPIO pin : FMC_SDCKE0_Pin */
  GPIO_InitStruct.Pin = FMC_SDCKE0_Pin;
  GPIO_InitStruct.Mode = GPIO_MODE_AF_PP;
  GPIO_InitStruct.Pull = GPIO_NOPULL;
  GPIO_InitStruct.Speed = GPIO_SPEED_FREQ_VERY_HIGH;
  GPIO_InitStruct.Alternate = GPIO_AF12_FMC;
  HAL_GPIO_Init(FMC_SDCKE0_GPIO_Port, &GPIO_InitStruct);

  /*Configure GPIO pins : ULPI_STP_Pin ULPI_DIR_Pin */
  GPIO_InitStruct.Pin = ULPI_STP_Pin|ULPI_DIR_Pin;
  GPIO_InitStruct.Mode = GPIO_MODE_AF_PP;
  GPIO_InitStruct.Pull = GPIO_NOPULL;
  GPIO_InitStruct.Speed = GPIO_SPEED_FREQ_VERY_HIGH;
  GPIO_InitStruct.Alternate = GPIO_AF10_OTG_HS;
  HAL_GPIO_Init(GPIOC, &GPIO_InitStruct);

  /*Configure GPIO pins : RMII_MDC_Pin RMII_RXD0_Pin RMII_RXD1_Pin */
  GPIO_InitStruct.Pin = RMII_MDC_Pin|RMII_RXD0_Pin|RMII_RXD1_Pin;
  GPIO_InitStruct.Mode = GPIO_MODE_AF_PP;
  GPIO_InitStruct.Pull = GPIO_NOPULL;
  GPIO_InitStruct.Speed = GPIO_SPEED_FREQ_HIGH;
  GPIO_InitStruct.Alternate = GPIO_AF11_ETH;
  HAL_GPIO_Init(GPIOC, &GPIO_InitStruct);

  /*Configure GPIO pin : PB2 */
  GPIO_InitStruct.Pin = GPIO_PIN_2;
  GPIO_InitStruct.Mode = GPIO_MODE_AF_PP;
  GPIO_InitStruct.Pull = GPIO_NOPULL;
  GPIO_InitStruct.Speed = GPIO_SPEED_FREQ_VERY_HIGH;
  GPIO_InitStruct.Alternate = GPIO_AF9_QUADSPI;
  HAL_GPIO_Init(GPIOB, &GPIO_InitStruct);

  /*Configure GPIO pins : QSPI_D1_Pin QSPI_D3_Pin QSPI_D0_Pin */
  GPIO_InitStruct.Pin = QSPI_D1_Pin|QSPI_D3_Pin|QSPI_D0_Pin;
  GPIO_InitStruct.Mode = GPIO_MODE_AF_PP;
  GPIO_InitStruct.Pull = GPIO_NOPULL;
  GPIO_InitStruct.Speed = GPIO_SPEED_FREQ_VERY_HIGH;
  GPIO_InitStruct.Alternate = GPIO_AF9_QUADSPI;
  HAL_GPIO_Init(GPIOD, &GPIO_InitStruct);

  /*Configure GPIO pin : RMII_RXER_Pin */
  GPIO_InitStruct.Pin = RMII_RXER_Pin;
  GPIO_InitStruct.Mode = GPIO_MODE_INPUT;
  GPIO_InitStruct.Pull = GPIO_NOPULL;
  HAL_GPIO_Init(RMII_RXER_GPIO_Port, &GPIO_InitStruct);

  /*Configure GPIO pins : RMII_REF_CLK_Pin RMII_MDIO_Pin RMII_CRS_DV_Pin */
  GPIO_InitStruct.Pin = RMII_REF_CLK_Pin|RMII_MDIO_Pin|RMII_CRS_DV_Pin;
  GPIO_InitStruct.Mode = GPIO_MODE_AF_PP;
  GPIO_InitStruct.Pull = GPIO_NOPULL;
  GPIO_InitStruct.Speed = GPIO_SPEED_FREQ_HIGH;
  GPIO_InitStruct.Alternate = GPIO_AF11_ETH;
  HAL_GPIO_Init(GPIOA, &GPIO_InitStruct);

  /*Configure GPIO pin : ARDUINO_A0_Pin */
  GPIO_InitStruct.Pin = ARDUINO_A0_Pin;
  GPIO_InitStruct.Mode = GPIO_MODE_ANALOG;
  GPIO_InitStruct.Pull = GPIO_NOPULL;
  HAL_GPIO_Init(ARDUINO_A0_GPIO_Port, &GPIO_InitStruct);

  /*Configure GPIO pins : DCMI_HSYNC_Pin PA6 */
  GPIO_InitStruct.Pin = DCMI_HSYNC_Pin|GPIO_PIN_6;
  GPIO_InitStruct.Mode = GPIO_MODE_AF_PP;
  GPIO_InitStruct.Pull = GPIO_NOPULL;
  GPIO_InitStruct.Speed = GPIO_SPEED_FREQ_LOW;
  GPIO_InitStruct.Alternate = GPIO_AF13_DCMI;
  HAL_GPIO_Init(GPIOA, &GPIO_InitStruct);

  /*Configure GPIO pins : LCD_SCL_Pin LCD_SDA_Pin */
  GPIO_InitStruct.Pin = LCD_SCL_Pin|LCD_SDA_Pin;
  GPIO_InitStruct.Mode = GPIO_MODE_AF_OD;
  GPIO_InitStruct.Pull = GPIO_NOPULL;
  GPIO_InitStruct.Speed = GPIO_SPEED_FREQ_VERY_HIGH;
  GPIO_InitStruct.Alternate = GPIO_AF4_I2C3;
  HAL_GPIO_Init(GPIOH, &GPIO_InitStruct);

  /*Configure GPIO pins : ULPI_CLK_Pin ULPI_D0_Pin */
  GPIO_InitStruct.Pin = ULPI_CLK_Pin|ULPI_D0_Pin;
  GPIO_InitStruct.Mode = GPIO_MODE_AF_PP;
  GPIO_InitStruct.Pull = GPIO_NOPULL;
  GPIO_InitStruct.Speed = GPIO_SPEED_FREQ_VERY_HIGH;
  GPIO_InitStruct.Alternate = GPIO_AF10_OTG_HS;
  HAL_GPIO_Init(GPIOA, &GPIO_InitStruct);

  /*Configure GPIO pin : ARDUINO_PWM_D6_Pin */
  GPIO_InitStruct.Pin = ARDUINO_PWM_D6_Pin;
  GPIO_InitStruct.Mode = GPIO_MODE_AF_PP;
  GPIO_InitStruct.Pull = GPIO_NOPULL;
  GPIO_InitStruct.Speed = GPIO_SPEED_FREQ_LOW;
  GPIO_InitStruct.Alternate = GPIO_AF9_TIM12;
  HAL_GPIO_Init(ARDUINO_PWM_D6_GPIO_Port, &GPIO_InitStruct);

  /*Configure GPIO pins : ARDUINO_MISO_D12_Pin ARDUINO_MOSI_PWM_D11_Pin */
  GPIO_InitStruct.Pin = ARDUINO_MISO_D12_Pin|ARDUINO_MOSI_PWM_D11_Pin;
  GPIO_InitStruct.Mode = GPIO_MODE_AF_PP;
  GPIO_InitStruct.Pull = GPIO_NOPULL;
  GPIO_InitStruct.Speed = GPIO_SPEED_FREQ_LOW;
  GPIO_InitStruct.Alternate = GPIO_AF5_SPI2;
  HAL_GPIO_Init(GPIOB, &GPIO_InitStruct);

}

/* USER CODE BEGIN 4 */
void HAL_TIM_PeriodElapsedCallback(TIM_HandleTypeDef *htim)
{
    if (htim->Instance == TIM6) {

        // LED logic
        uint32_t period_ms = 1000 / freq;
        uint32_t on_time_ms = is_custom_duty ? 50 : (period_ms / 2);

        timer_tick++;
        if (timer_tick >= period_ms) {
            timer_tick = 0;
        }

        if (timer_tick < on_time_ms) {
            HAL_GPIO_WritePin(GPIOI, GPIO_PIN_1, GPIO_PIN_SET);
        } else {
            HAL_GPIO_WritePin(GPIOI, GPIO_PIN_1, GPIO_PIN_RESET);
        }

        // Button logic
        if (HAL_GPIO_ReadPin(GPIOI, GPIO_PIN_11) == GPIO_PIN_SET) {
            if (!btn_pressed) {
                btn_pressed = 1;
                btn_time = 0;
                long_handled = 0;
            } else {
                btn_time++;
                if (btn_time >= 1000 && !long_handled) {
                    is_custom_duty = !is_custom_duty;
                    long_handled = 1;
                }
            }
        } else {
            if (btn_pressed) {
                btn_pressed = 0;
                if (!long_handled && btn_time > 20) {
                    freq *= 2;
                    if (freq > 16) {
                        freq = 1;
                    }
                }
            }
        }
    }
}
/* USER CODE END 4 */

 /* MPU Configuration */

void MPU_Config(void)
{
  MPU_Region_InitTypeDef MPU_InitStruct = {0};

  /* Disables the MPU */
  HAL_MPU_Disable();

  /** Initializes and configures the Region and the memory to be protected
  */
  MPU_InitStruct.Enable = MPU_REGION_ENABLE;
  MPU_InitStruct.Number = MPU_REGION_NUMBER0;
  MPU_InitStruct.BaseAddress = 0x0;
  MPU_InitStruct.Size = MPU_REGION_SIZE_4GB;
  MPU_InitStruct.SubRegionDisable = 0x87;
  MPU_InitStruct.TypeExtField = MPU_TEX_LEVEL0;
  MPU_InitStruct.AccessPermission = MPU_REGION_NO_ACCESS;
  MPU_InitStruct.DisableExec = MPU_INSTRUCTION_ACCESS_DISABLE;
  MPU_InitStruct.IsShareable = MPU_ACCESS_SHAREABLE;
  MPU_InitStruct.IsCacheable = MPU_ACCESS_NOT_CACHEABLE;
  MPU_InitStruct.IsBufferable = MPU_ACCESS_NOT_BUFFERABLE;

  HAL_MPU_ConfigRegion(&MPU_InitStruct);
  /* Enables the MPU */
  HAL_MPU_Enable(MPU_PRIVILEGED_DEFAULT);

}

void Error_Handler(void)
{
  __disable_irq();
  while (1)
  {
  }
}
